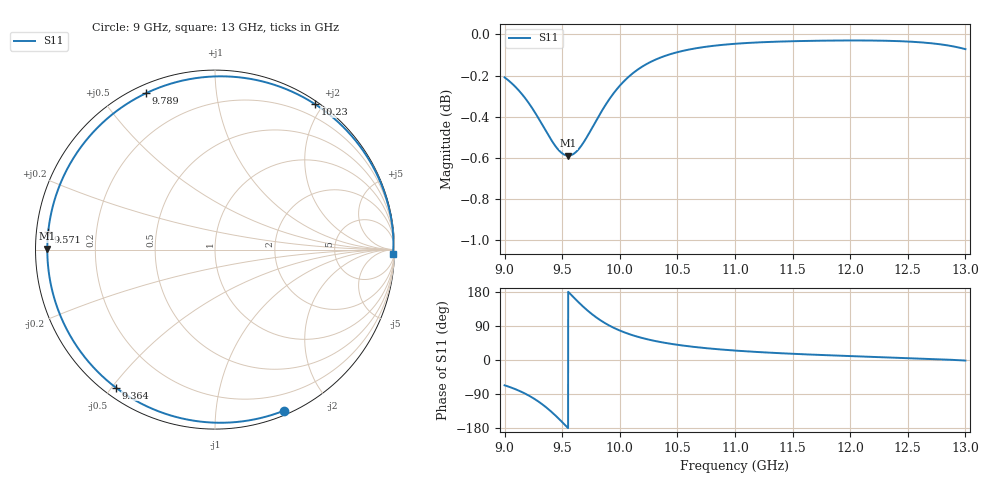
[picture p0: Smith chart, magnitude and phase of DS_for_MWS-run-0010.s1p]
! TOUCHSTONE file generated by CST DESIGN STUDIO
! Date and time: Tue Feb  4 13:16:09 2025
! Project name: C:\Work\MatlabApps\UnitCellOptimizationMatlab\CST\unitcell.cst
! Tree item: Tasks\Sweep1\SPara1\S-Parameters
! Header version: 2024
! Port assignment regex: !\s*Touchstone port\s*([0-9]+)\s*=\s*(CST MWS port|CST DES external port|CST DES block port)\s*(.+)\s* \(\"(.*)\"\)(\s*mode\s*([0-9]+))?.*
! Touchstone port assignment:
! Touchstone port 1 = CST DES external port 1 ("")
# GHz S MA R 50
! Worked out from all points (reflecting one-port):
!   4001 points, 9 GHz to 13 GHz, reference 50 ohm
!   lowest |S11| = -0.6 dB at 9.553 GHz (marker M1), VSWR 29.48, Z = 1.7 + j0.16 ohm
!   phase of S11 starts at -67 deg and turns -295 deg over the sweep
!   S11 on the Smith chart (normalised r, x): 9 GHz: 0.04, -1.52; 9.364 GHz: 0.03, -0.51; 9.571 GHz: 0.03, +0.05; 9.789 GHz: 0.03, +0.65; 10.23 GHz: 0.04, +1.90; 13 GHz: 24, -72
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9  0.9762 -66.8
9.041  0.9742 -71.0
9.107  0.9702 -78.7
9.219  0.9614 -95.4
9.296  0.9539 -110.1
9.364  0.9468 -125.7
9.429  0.9404 -142.9
9.466  0.9375 -153.6
9.5  0.9356 -163.9
9.553  0.9344 179.6
9.571  0.9345 174.0
9.625  0.9366 157.4
9.685  0.9413 140.0
9.736  0.9464 126.5
9.789  0.9522 113.9
9.834  0.957 104.4
9.882  0.9619 95.5
10  0.9717 77.7
10.107  0.9782 65.8
10.227  0.9833 55.6
10.353  0.9871 47.4
10.5  0.9901 40.1
10.721  0.9929 32.1
11  0.9947 24.9
11.5  0.9962 16.4
12  0.9966 10.4
12.5  0.996 5.1
13  0.9918 -1.4
